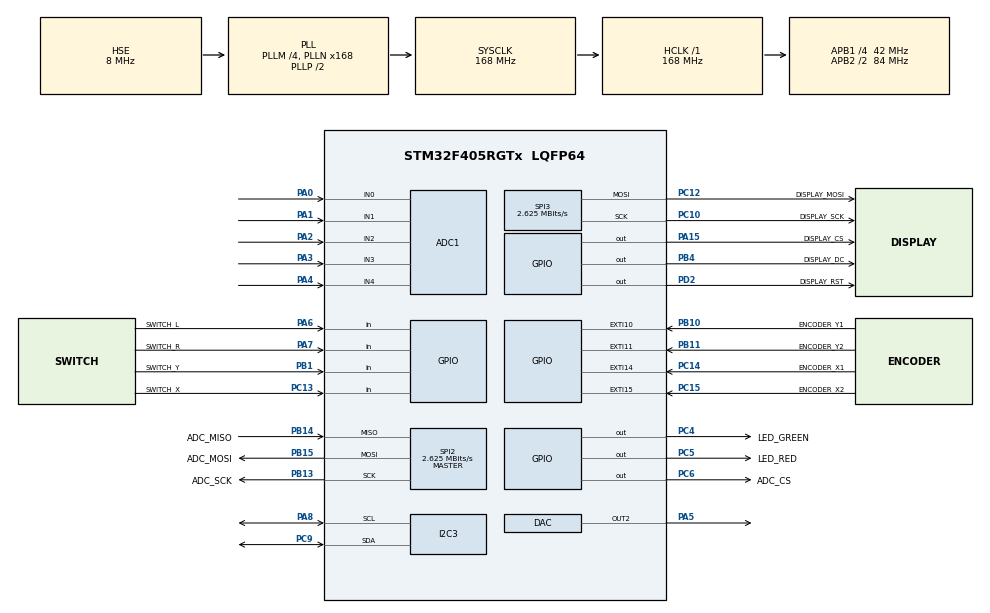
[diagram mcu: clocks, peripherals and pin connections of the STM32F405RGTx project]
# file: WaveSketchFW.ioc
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ADC1.Channel-0\#ChannelRegularConversion=ADC_CHANNEL_0
ADC1.Channel-1\#ChannelRegularConversion=ADC_CHANNEL_1
ADC1.Channel-2\#ChannelRegularConversion=ADC_CHANNEL_2
ADC1.Channel-3\#ChannelRegularConversion=ADC_CHANNEL_3
ADC1.Channel-4\#ChannelRegularConversion=ADC_CHANNEL_4
ADC1.ClockPrescaler=ADC_CLOCK_SYNC_PCLK_DIV8
ADC1.ContinuousConvMode=DISABLE
ADC1.DMAContinuousRequests=ENABLE
ADC1.DiscontinuousConvMode=DISABLE
ADC1.EOCSelection=ADC_EOC_SEQ_CONV
ADC1.NbrOfConversion=5
ADC1.NbrOfConversionFlag=1
ADC1.Rank-0\#ChannelRegularConversion=1
ADC1.Rank-1\#ChannelRegularConversion=2
ADC1.Rank-2\#ChannelRegularConversion=3
ADC1.Rank-3\#ChannelRegularConversion=4
ADC1.Rank-4\#ChannelRegularConversion=5
ADC1.SamplingTime-0\#ChannelRegularConversion=ADC_SAMPLETIME_480CYCLES
ADC1.SamplingTime-1\#ChannelRegularConversion=ADC_SAMPLETIME_480CYCLES
ADC1.SamplingTime-2\#ChannelRegularConversion=ADC_SAMPLETIME_480CYCLES
ADC1.SamplingTime-3\#ChannelRegularConversion=ADC_SAMPLETIME_480CYCLES
ADC1.SamplingTime-4\#ChannelRegularConversion=ADC_SAMPLETIME_480CYCLES
ADC1.ScanConvMode=ENABLE
ADC1.master=1
Dma.ADC1.0.Direction=DMA_PERIPH_TO_MEMORY
Dma.ADC1.0.FIFOMode=DMA_FIFOMODE_DISABLE
Dma.ADC1.0.Instance=DMA2_Stream0
Dma.ADC1.0.MemDataAlignment=DMA_MDATAALIGN_WORD
Dma.ADC1.0.MemInc=DMA_MINC_ENABLE
Dma.ADC1.0.Mode=DMA_CIRCULAR
Dma.ADC1.0.PeriphDataAlignment=DMA_PDATAALIGN_WORD
Dma.ADC1.0.PeriphInc=DMA_PINC_DISABLE
Dma.ADC1.0.Priority=DMA_PRIORITY_LOW
Dma.Request0=ADC1
FREERTOS.BinarySemaphores01=encoderSemaphore,Dynamic,NULL
FREERTOS.INCLUDE_vTaskDelayUntil=1
FREERTOS.MEMORY_ALLOCATION=0
FREERTOS.Tasks01=defaultTask,0,128,DefaultTask,Default,NULL,Dynamic,NULL,NULL;displayTask,-2,128,DisplayTask,Default,NULL,Dynamic,NULL,NULL;encoderTask,0,128,EncoderTask,Default,NULL,Dynamic,NULL,NULL;ledTask,-2,128,LedTask,Default,NULL,Dynamic,NULL,NULL;pitchTask,2,128,PitchTask,Default,NULL,Dynamic,NULL,NULL;buttonTask,-1,128,ButtonTask,Default,NULL,Dynamic,NULL,NULL;lfoControlTask,-1,128,LfoControlTask,Default,NULL,Dynamic,NULL,NULL
FREERTOS.configENABLE_FPU=1
FREERTOS.configUSE_NEWLIB_REENTRANT=1
Mcu.Family=STM32F4
Mcu.Name=STM32F405RGTx
Mcu.Package=LQFP64
NVIC.ADC_IRQn=true\:5\:0\:false\:false\:true\:false\:true\:true\:true
NVIC.DMA2_Stream0_IRQn=true\:5\:0\:false\:false\:true\:false\:false\:true\:true
NVIC.EXTI15_10_IRQn=true\:6\:0\:true\:false\:true\:false\:true\:true\:true
NVIC.PriorityGroup=NVIC_PRIORITYGROUP_4
NVIC.TIM1_UP_TIM10_IRQn=true\:0\:0\:false\:false\:true\:false\:false\:true\:true
NVIC.TIM2_IRQn=true\:4\:0\:true\:false\:true\:false\:true\:true\:true
NVIC.TimeBase=TIM1_UP_TIM10_IRQn
NVIC.TimeBaseIP=TIM1
PA0-WKUP.Signal=ADCx_IN0
PA1.Signal=ADCx_IN1
PA13.Mode=Serial_Wire
PA13.Signal=SYS_JTMS-SWDIO
PA14.Mode=Serial_Wire
PA14.Signal=SYS_JTCK-SWCLK
PA15.GPIO_Label=DISPLAY_CS
PA15.Signal=GPIO_Output
PA2.Signal=ADCx_IN2
PA3.Signal=ADCx_IN3
PA4.Signal=ADCx_IN4
PA5.Signal=COMP_DAC2_group
PA6.GPIO_Label=SWITCH_L
PA6.GPIO_PuPd=GPIO_PULLUP
PA6.Signal=GPIO_Input
PA7.GPIO_Label=SWITCH_R
PA7.GPIO_PuPd=GPIO_PULLUP
PA7.Signal=GPIO_Input
PA8.GPIO_Pu=GPIO_PULLUP
PA8.Mode=I2C
PA8.Signal=I2C3_SCL
PB1.GPIO_Label=SWITCH_Y
PB1.GPIO_PuPd=GPIO_PULLUP
PB1.Signal=GPIO_Input
PB10.GPIO_Label=ENCODER_Y1
PB10.GPIO_ModeDefaultEXTI=GPIO_MODE_IT_RISING_FALLING
PB10.Signal=GPXTI10
PB11.GPIO_Label=ENCODER_Y2
PB11.GPIO_ModeDefaultEXTI=GPIO_MODE_IT_RISING_FALLING
PB11.Signal=GPXTI11
PB13.GPIO_Label=ADC_SCK
PB13.Mode=Full_Duplex_Master
PB13.Signal=SPI2_SCK
PB14.GPIO_Label=ADC_MISO
PB14.Mode=Full_Duplex_Master
PB14.Signal=SPI2_MISO
PB15.GPIO_Label=ADC_MOSI
PB15.Mode=Full_Duplex_Master
PB15.Signal=SPI2_MOSI
PB4.GPIO_Label=DISPLAY_DC
PB4.Signal=GPIO_Output
PC10.GPIO_Label=DISPLAY_SCK
PC10.Mode=TX_Only_Simplex_Unidirect_Master
PC10.Signal=SPI3_SCK
PC12.GPIO_Label=DISPLAY_MOSI
PC12.Mode=TX_Only_Simplex_Unidirect_Master
PC12.Signal=SPI3_MOSI
PC13-ANTI_TAMP.GPIO_Label=SWITCH_X
PC13-ANTI_TAMP.GPIO_PuPd=GPIO_PULLUP
PC13-ANTI_TAMP.Signal=GPIO_Input
PC14-OSC32_IN.GPIO_Label=ENCODER_X1
PC14-OSC32_IN.GPIO_ModeDefaultEXTI=GPIO_MODE_IT_RISING_FALLING
PC14-OSC32_IN.Signal=GPXTI14
PC15-OSC32_OUT.GPIO_Label=ENCODER_X2
PC15-OSC32_OUT.GPIO_ModeDefaultEXTI=GPIO_MODE_IT_RISING_FALLING
PC15-OSC32_OUT.Signal=GPXTI15
PC4.GPIO_Label=LED_GREEN
PC4.Signal=GPIO_Output
PC5.GPIO_Label=LED_RED
PC5.Signal=GPIO_Output
PC6.GPIO_Label=ADC_CS
PC6.Signal=GPIO_Output
PC9.GPIO_Pu=GPIO_PULLUP
PC9.Mode=I2C
PC9.Signal=I2C3_SDA
PD2.GPIO_Label=DISPLAY_RST
PD2.Signal=GPIO_Output
PH0-OSC_IN.Mode=HSE-External-Clock-Source
PH0-OSC_IN.Signal=RCC_OSC_IN
PH1-OSC_OUT.Mode=HSE-External-Clock-Source
PH1-OSC_OUT.Signal=RCC_OSC_OUT
ProjectManager.HeapSize=0x200
ProjectManager.StackSize=0x400
ProjectManager.TargetToolchain=STM32CubeIDE
RCC.48MHZClocksFreq_Value=84000000
RCC.AHBFreq_Value=168000000
RCC.APB1CLKDivider=RCC_HCLK_DIV4
RCC.APB1Freq_Value=42000000
RCC.APB1TimFreq_Value=84000000
RCC.APB2CLKDivider=RCC_HCLK_DIV2
RCC.APB2Freq_Value=84000000
RCC.APB2TimFreq_Value=168000000
RCC.CortexFreq_Value=168000000
RCC.HCLKFreq_Value=168000000
RCC.HSE_VALUE=8000000
RCC.HSI_VALUE=16000000
RCC.LSE_VALUE=32768
RCC.PLLM=4
RCC.PLLN=168
RCC.PLLSourceVirtual=RCC_PLLSOURCE_HSE
RCC.SYSCLKFreq_VALUE=168000000
RCC.SYSCLKSource=RCC_SYSCLKSOURCE_PLLCLK
RCC.VCOOutputFreq_Value=336000000
SH.ADCx_IN0.0=ADC1_IN0,IN0
SH.ADCx_IN1.0=ADC1_IN1,IN1
SH.ADCx_IN2.0=ADC1_IN2,IN2
SH.ADCx_IN3.0=ADC1_IN3,IN3
SH.ADCx_IN4.0=ADC1_IN4,IN4
SH.COMP_DAC2_group.0=DAC_OUT2,DAC_OUT2
SPI2.BaudRatePrescaler=SPI_BAUDRATEPRESCALER_16
SPI2.CLKPhase=SPI_PHASE_2EDGE
SPI2.CalculateBaudRate=2.625 MBits/s
SPI2.DataSize=SPI_DATASIZE_16BIT
SPI2.Direction=SPI_DIRECTION_2LINES
SPI2.Mode=SPI_MODE_MASTER
SPI2.VirtualType=VM_MASTER
SPI3.BaudRatePrescaler=SPI_BAUDRATEPRESCALER_16
SPI3.CLKPhase=SPI_PHASE_1EDGE
SPI3.CalculateBaudRate=2.625 MBits/s
SPI3.DataSize=SPI_DATASIZE_8BIT
SPI3.Direction=SPI_DIRECTION_2LINES
SPI3.Mode=SPI_MODE_MASTER
SPI3.VirtualType=VM_MASTER
TIM2.Period=875
VP_FREERTOS_VS_CMSIS_V1.Mode=CMSIS_V1
VP_SYS_VS_tim1.Mode=TIM1
VP_TIM2_VS_ClockSourceINT.Mode=Internal
board=custom

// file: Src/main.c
/* USER CODE BEGIN Header */
/**
  ******************************************************************************
  * @file           : main.c
  * @brief          : Main program body
  ******************************************************************************
  * @attention
  *
  * <h2><center>&copy; Copyright (c) 2019 STMicroelectronics.
  * All rights reserved.</center></h2>
  *
  * This software component is licensed by ST under BSD 3-Clause license,
  * the "License"; You may not use this file except in compliance with the
  * License. You may obtain a copy of the License at:
  *                        opensource.org/licenses/BSD-3-Clause
  *
  ******************************************************************************
  */
/* USER CODE END Header */
#include "main.h"
#include "cmsis_os.h"
#include "adc.h"
#include "dac.h"
#include "dma.h"
#include "i2c.h"
#include "spi.h"
#include "tim.h"
#include "gpio.h"

/* USER CODE BEGIN Includes */
#include "display.h"
#include "audio.h"
#include "encoder.h"
#include "control.h"
#include "button.h"
#include "semphr.h"
#include "eeprom.h"
#include "definitions.h"
/* USER CODE END Includes */

/* USER CODE BEGIN PV */
extern uint32_t g_adc_inputs[5];
/* USER CODE END PV */

void SystemClock_Config(void);
void MX_FREERTOS_Init(void);

int main(void)
{

  /* MCU Configuration--------------------------------------------------------*/

  /* Reset of all peripherals, Initializes the Flash interface and the Systick. */
  HAL_Init();

  /* Configure the system clock */
  SystemClock_Config();

  /* USER CODE BEGIN SysInit */
  HAL_FLASH_Unlock();
  /* USER CODE END SysInit */

  /* Initialize all configured peripherals */
  MX_GPIO_Init();
  MX_DMA_Init();
  MX_ADC1_Init();
  MX_DAC_Init();
  MX_SPI3_Init();
  MX_SPI2_Init();
  MX_TIM2_Init();
  MX_I2C3_Init();
  /* USER CODE BEGIN 2 */
  if(EE_Init() != EE_OK) {
    Error_Handler();
  }
  HAL_TIM_Base_Start_IT(&htim2);
  HAL_DAC_Start(&hdac, DAC_CHANNEL_2);
  HAL_ADC_Start(&hadc1);
  HAL_ADC_Start_DMA(&hadc1, g_adc_inputs, ARRAY_SIZE(g_adc_inputs));
  /* USER CODE END 2 */

  /* Call init function for freertos objects (in freertos.c) */
  MX_FREERTOS_Init();

  /* Start scheduler */
  osKernelStart();

  /* We should never get here as control is now taken by the scheduler */
  /* Infinite loop */
  while (1)
  {

  }
}

void SystemClock_Config(void)
{
  RCC_OscInitTypeDef RCC_OscInitStruct = {0};
  RCC_ClkInitTypeDef RCC_ClkInitStruct = {0};

  /** Configure the main internal regulator output voltage
  */
  __HAL_RCC_PWR_CLK_ENABLE();
  __HAL_PWR_VOLTAGESCALING_CONFIG(PWR_REGULATOR_VOLTAGE_SCALE1);

  /** Initializes the RCC Oscillators according to the specified parameters
  * in the RCC_OscInitTypeDef structure.
  */
  RCC_OscInitStruct.OscillatorType = RCC_OSCILLATORTYPE_HSE;
  RCC_OscInitStruct.HSEState = RCC_HSE_BYPASS;
  RCC_OscInitStruct.PLL.PLLState = RCC_PLL_ON;
  RCC_OscInitStruct.PLL.PLLSource = RCC_PLLSOURCE_HSE;
  RCC_OscInitStruct.PLL.PLLM = 4;
  RCC_OscInitStruct.PLL.PLLN = 168;
  RCC_OscInitStruct.PLL.PLLP = RCC_PLLP_DIV2;
  RCC_OscInitStruct.PLL.PLLQ = 4;
  if (HAL_RCC_OscConfig(&RCC_OscInitStruct) != HAL_OK)
  {
    Error_Handler();
  }

  /** Initializes the CPU, AHB and APB buses clocks
  */
  RCC_ClkInitStruct.ClockType = RCC_CLOCKTYPE_HCLK|RCC_CLOCKTYPE_SYSCLK
                              |RCC_CLOCKTYPE_PCLK1|RCC_CLOCKTYPE_PCLK2;
  RCC_ClkInitStruct.SYSCLKSource = RCC_SYSCLKSOURCE_PLLCLK;
  RCC_ClkInitStruct.AHBCLKDivider = RCC_SYSCLK_DIV1;
  RCC_ClkInitStruct.APB1CLKDivider = RCC_HCLK_DIV4;
  RCC_ClkInitStruct.APB2CLKDivider = RCC_HCLK_DIV2;

  if (HAL_RCC_ClockConfig(&RCC_ClkInitStruct, FLASH_LATENCY_5) != HAL_OK)
  {
    Error_Handler();
  }
}

void HAL_TIM_PeriodElapsedCallback(TIM_HandleTypeDef *htim)
{
  if (htim->Instance == TIM1) {
    HAL_IncTick();
  }
}

void Error_Handler(void)
{
}

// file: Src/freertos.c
/* USER CODE BEGIN Header */
/**
  ******************************************************************************
  * File Name          : freertos.c
  * Description        : Code for freertos applications
  ******************************************************************************
  * @attention
  *
  * <h2><center>&copy; Copyright (c) 2019 STMicroelectronics.
  * All rights reserved.</center></h2>
  *
  * This software component is licensed by ST under Ultimate Liberty license
  * SLA0044, the "License"; You may not use this file except in compliance with
  * the License. You may obtain a copy of the License at:
  *                             www.st.com/SLA0044
  *
  ******************************************************************************
  */
/* USER CODE END Header */

#include "FreeRTOS.h"
#include "task.h"
#include "main.h"
#include "cmsis_os.h"

/* USER CODE BEGIN Includes */
#include "main.h"
#include "adc.h"
#include "i2c.h"
#include "display.h"
#include "audio.h"
#include "encoder.h"
#include "control.h"
#include "button.h"
#include "semphr.h"
#include "dsp.h"
#include "ext_adc.h"
#include "eeprom.h"
#include "definitions.h"
/* USER CODE END Includes */

/* USER CODE BEGIN Variables */
WAVEFORM wf;
ENCODER encoder_x;
ENCODER encoder_y;
BUTTON x_button;
BUTTON y_button;
BUTTON left_button;
BUTTON right_button;
EXP_CMD freq_cmd;
uint32_t g_adc_inputs[5];
LOWPASS note_filter;
LOWPASS fine_filter;
EXT_ADC ext_adc;
/* USER CODE END Variables */
osThreadId defaultTaskHandle;
osThreadId displayTaskHandle;
osThreadId encoderTaskHandle;
osThreadId ledTaskHandle;
osThreadId pitchTaskHandle;
osThreadId buttonTaskHandle;
osThreadId lfoControlTaskHandle;
osSemaphoreId encoderSemaphoreHandle;

/* USER CODE BEGIN FunctionPrototypes */
void draw_sample(void);
void draw_waveform(void);
void save_waveform(uint16_t memory_bank);
void load_waveform(uint16_t memory_bank);
/* USER CODE END FunctionPrototypes */

void DefaultTask(void const * argument);
void DisplayTask(void const * argument);
void EncoderTask(void const * argument);
void LedTask(void const * argument);
void PitchTask(void const * argument);
void ButtonTask(void const * argument);
void LfoControlTask(void const * argument);

void MX_FREERTOS_Init(void); /* (MISRA C 2004 rule 8.1) */

void MX_FREERTOS_Init(void) {

  /* Create the semaphores(s) */
  /* definition and creation of encoderSemaphore */
  osSemaphoreDef(encoderSemaphore);
  encoderSemaphoreHandle = osSemaphoreCreate(osSemaphore(encoderSemaphore), 1);

  /* Create the thread(s) */
  /* definition and creation of defaultTask */
  osThreadDef(defaultTask, DefaultTask, osPriorityNormal, 0, 128);
  defaultTaskHandle = osThreadCreate(osThread(defaultTask), NULL);

  /* definition and creation of displayTask */
  osThreadDef(displayTask, DisplayTask, osPriorityLow, 0, 128);
  displayTaskHandle = osThreadCreate(osThread(displayTask), NULL);

  /* definition and creation of encoderTask */
  osThreadDef(encoderTask, EncoderTask, osPriorityNormal, 0, 128);
  encoderTaskHandle = osThreadCreate(osThread(encoderTask), NULL);

  /* definition and creation of ledTask */
  osThreadDef(ledTask, LedTask, osPriorityLow, 0, 128);
  ledTaskHandle = osThreadCreate(osThread(ledTask), NULL);

  /* definition and creation of pitchTask */
  osThreadDef(pitchTask, PitchTask, osPriorityHigh, 0, 128);
  pitchTaskHandle = osThreadCreate(osThread(pitchTask), NULL);

  /* definition and creation of buttonTask */
  osThreadDef(buttonTask, ButtonTask, osPriorityBelowNormal, 0, 128);
  buttonTaskHandle = osThreadCreate(osThread(buttonTask), NULL);

  /* definition and creation of lfoControlTask */
  osThreadDef(lfoControlTask, LfoControlTask, osPriorityBelowNormal, 0, 128);
  lfoControlTaskHandle = osThreadCreate(osThread(lfoControlTask), NULL);

}

void DefaultTask(void const * argument)
{
  /* USER CODE BEGIN DefaultTask */
  /* Infinite loop */
  for(;;)
  {
    osDelay(10);
  }
  /* USER CODE END DefaultTask */
}

void DisplayTask(void const * argument)
{
  /* USER CODE BEGIN DisplayTask */
  // initialize the OLED display
  init_display(0, 1);
  init_waveform(&wf, SSD1306_LCDWIDTH);
  load_waveform(wf.selection);

  /* Infinite loop */
  for(;;) {
    // update the display
    display();
    vTaskDelay(pdMS_TO_TICKS(25));
  }
  /* USER CODE END DisplayTask */
}

void EncoderTask(void const * argument)
{
  /* USER CODE BEGIN EncoderTask */
  // initialize the rotary encoders
  init_encoder(&encoder_x, ENCODER_X1_GPIO_Port, ENCODER_X1_Pin, ENCODER_X2_GPIO_Port, ENCODER_X2_Pin, MAX_WIDTH, 0);
  init_encoder(&encoder_y, ENCODER_Y2_GPIO_Port, ENCODER_Y2_Pin, ENCODER_Y1_GPIO_Port, ENCODER_Y1_Pin, MAX_HEIGHT, 0);
  // initialize encoder positions
  preset_encoder(&encoder_x, 0);
  preset_encoder(&encoder_y, (SSD1306_LCDHEIGHT / 2));

  /* Infinite loop */
  for(;;) {
    xSemaphoreTake(encoderSemaphoreHandle, portMAX_DELAY);
    // check both encoders for updated data
    update_encoder(&encoder_x);
    update_encoder(&encoder_y);
    draw_sample();
  }
  /* USER CODE END EncoderTask */
}

void LedTask(void const * argument)
{
  /* USER CODE BEGIN LedTask */
  TickType_t xLastWakeTime;
  xLastWakeTime = xTaskGetTickCount();

  /* Infinite loop */
  for(;;) {
    HAL_GPIO_WritePin(LED_GREEN_GPIO_Port, LED_GREEN_Pin, GPIO_PIN_SET);
    HAL_GPIO_WritePin(LED_RED_GPIO_Port, LED_RED_Pin, GPIO_PIN_RESET);
    vTaskDelayUntil(&xLastWakeTime, pdMS_TO_TICKS(250));

    HAL_GPIO_WritePin(LED_GREEN_GPIO_Port, LED_GREEN_Pin, GPIO_PIN_RESET);
    HAL_GPIO_WritePin(LED_RED_GPIO_Port, LED_RED_Pin, GPIO_PIN_SET);
    vTaskDelayUntil(&xLastWakeTime, pdMS_TO_TICKS(250));
  }
  /* USER CODE END LedTask */
}

void PitchTask(void const * argument)
{
  /* USER CODE BEGIN PitchTask */
  TickType_t xLastWakeTime;
  float_t pitch_cmd;
//  uint16_t dac_value = 0;
//  uint8_t dac_i2c_data[3] = {DAC_I2C_CONTROL, 0, 0};
  init_lowpass_filter(&note_filter, 20, ADC_SAMPLE_RATE);
  init_lowpass_filter(&fine_filter, 1, ADC_SAMPLE_RATE);
  init_exp_cmd(&freq_cmd, FREQ_CONST_A, FREQ_BASE);
  init_ext_adc(&ext_adc, EXT_ADC_MUX_3, EXT_ADC_MUX_2);
  xLastWakeTime = xTaskGetTickCount();

  /* Infinite loop */
  for(;;)
  {
    vTaskDelayUntil(&xLastWakeTime, pdMS_TO_TICKS(20));
    read_ext_adc(&ext_adc);

    lowpass_filter(&fine_filter, g_adc_inputs[ADC_FINE_INDEX]);

    // sum the pitch commands
    pitch_cmd = (CV_SCALAR * (float_t)ext_adc.results[ADC_CV_INDEX]) +
                (COARSE_SCALAR * (float_t)ext_adc.results[ADC_COARSE_INDEX]) +
                (FINE_SCALAR * fine_filter.out);

    lowpass_filter(&note_filter, pitch_cmd);
    exp_cmd(&freq_cmd, note_filter.out);
    update_frequency(&wf, freq_cmd.out);

//    dac_i2c_data[1] = (dac_value >> 8);
//    dac_i2c_data[2] = (dac_value & 0xFF);
//    HAL_I2C_Master_Transmit(&hi2c3, DAC_I2C_WRITE, dac_i2c_data, 3, 1000);
//    HAL_I2C_Master_Transmit_DMA(I2C_HandleTypeDef *hi2c, uint16_t DevAddress, uint8_t *pData, uint16_t Size);
//    dac_value += 128;
  }
  /* USER CODE END PitchTask */
}

void ButtonTask(void const * argument)
{
  /* USER CODE BEGIN ButtonTask */
  init_button(&x_button, DEBOUNCE_THRESHOLD, 0, SWITCH_X_GPIO_Port, SWITCH_X_Pin);
  init_button(&y_button, DEBOUNCE_THRESHOLD, 0, SWITCH_Y_GPIO_Port, SWITCH_Y_Pin);
  init_button(&left_button, DEBOUNCE_THRESHOLD, 0, SWITCH_L_GPIO_Port, SWITCH_L_Pin);
  init_button(&right_button, DEBOUNCE_THRESHOLD, 0, SWITCH_R_GPIO_Port, SWITCH_R_Pin);

  init_button_hold(&left_button, HOLD_THRESHOLD);
  init_button_hold(&right_button, HOLD_THRESHOLD);

  /* Infinite loop */
  for(;;)
  {
    vTaskDelay(pdMS_TO_TICKS(10));
    button_debouce(&x_button);
    button_debouce(&y_button);
    button_debouce(&left_button);
    button_debouce(&right_button);

    if(right_button.hold_falling) {
      save_waveform(wf.selection);
    }
    else if(left_button.hold_falling) {
      reset_waveform(&wf, (SSD1306_LCDHEIGHT / 2));
      draw_waveform();
    }
    else if(right_button.out_falling) {

    }
    else if(left_button.out_falling) {
      update_sensitivity(&encoder_x);
      update_sensitivity(&encoder_y);
    }
    else if(x_button.out_rising) {
      select_waveform(&wf, -1);
      load_waveform(wf.selection);
    }
    else if(y_button.out_rising) {
      select_waveform(&wf, 1);
      load_waveform(wf.selection);
    }
  }
  /* USER CODE END ButtonTask */
}

void LfoControlTask(void const * argument)
{
  /* USER CODE BEGIN LfoControlTask */
  vTaskDelay(pdMS_TO_TICKS(100));

  /* Infinite loop */
  for(;;)
  {
    // initiate a new ADC conversion sequence
    HAL_ADC_Start_DMA(&hadc1, g_adc_inputs, ARRAY_SIZE(g_adc_inputs));
    vTaskDelay(pdMS_TO_TICKS(1));
    // at least one of the LFO inputs is connected
    if(g_adc_inputs[ADC_X_INDEX] > DISCONNECT_THRESHOLD ||
       g_adc_inputs[ADC_Y_INDEX] > DISCONNECT_THRESHOLD) {
      // X input connected
      if(g_adc_inputs[ADC_X_INDEX] > DISCONNECT_THRESHOLD) {
        lfo_x_cal_sequence(&wf, g_adc_inputs[ADC_X_INDEX], left_button.hold);
        preset_encoder(&encoder_x, scale_lfo_x_input(&wf, g_adc_inputs[ADC_X_INDEX]) * MAX_WIDTH);
      }
      // Y input connected
      if(g_adc_inputs[ADC_Y_INDEX] > DISCONNECT_THRESHOLD) {
        lfo_y_cal_sequence(&wf, g_adc_inputs[ADC_Y_INDEX], left_button.hold);
        preset_encoder(&encoder_y, scale_lfo_y_input(&wf, g_adc_inputs[ADC_Y_INDEX]) * MAX_HEIGHT);
      }
      draw_sample();
    }
  }
  /* USER CODE END LfoControlTask */
}

/* USER CODE BEGIN Application */
void draw_sample(void)
{
  // update the waveform
  wf.display[encoder_x.position] = encoder_y.position;
  update_audio_sample(&wf, AUDIO_SCALING(encoder_y.position), encoder_x.position);
  // clear the current and adjacent columns
  draw_vline(encoder_x.position, MAX_HEIGHT, 0, BLACK);
  draw_vline(encoder_x.position + 1, MAX_HEIGHT, 0, BLACK);

  // draw current vertical line
  if(encoder_x.position > 0) {
    // standard case
    draw_vline(encoder_x.position, encoder_y.position, wf.display[encoder_x.position - 1], WHITE);
  }
  else {
    // left screen edge case
    draw_pixel(encoder_x.position, encoder_y.position, WHITE);
  }

  // draw adjacent vertical line
  if(encoder_x.position < MAX_WIDTH) {
    draw_vline(encoder_x.position + 1, encoder_y.position, wf.display[encoder_x.position + 1], WHITE);
  }
}

void draw_waveform(void)
{
  uint16_t i = 0;
  clear_screen();
  // left screen edge case
  draw_pixel(0, wf.display[0], WHITE);
  // draw remaining lines to generate the waveform
  for(i = 1; i < SSD1306_LCDWIDTH; i++) {
    draw_vline(i, wf.display[i], wf.display[i - 1], WHITE);
  }
}

void save_waveform(uint16_t memory_bank)
{
  uint16_t i = 0, wf_index = 0, start = 0, end = 0;
  memory_bank = (memory_bank < NUM_WAVEFORMS) ? memory_bank : (NUM_WAVEFORMS - 1);
  start = (memory_bank * SSD1306_LCDWIDTH);
  end = start + SSD1306_LCDWIDTH;

  for(i = start; i < end; i++) {
    EE_WriteVariable(i, (uint16_t)wf.display[wf_index]);
    wf_index++;
  }
}

void load_waveform(uint16_t memory_bank)
{
  uint16_t i = 0, wf_index = 0, start = 0, end = 0, fault = 0;
  memory_bank = (memory_bank < NUM_WAVEFORMS) ? memory_bank : (NUM_WAVEFORMS - 1);
  start = (memory_bank * SSD1306_LCDWIDTH);
  end = start + SSD1306_LCDWIDTH;

  for(i = start; i < end; i++) {
    if(fault) {
      for(wf_index = 0; wf_index < SSD1306_LCDWIDTH; wf_index++) {
        wf.display[wf_index] = SSD1306_LCDHEIGHT / 2;
        wf.audio[wf_index] = AUDIO_SCALING(wf.display[wf_index]);
      }
      break;
    }
    else {
      fault = (EE_ReadVariable(i, (uint16_t *)&wf.display[wf_index]) != HAL_OK);
      wf.audio[wf_index] = AUDIO_SCALING(wf.display[wf_index]);
    }
    wf_index++;
  }
  preset_encoder(&encoder_x, 0);
  preset_encoder(&encoder_y, wf.display[0]);
  calculate_deltas(&wf);
  draw_waveform();
}
/* USER CODE END Application */
